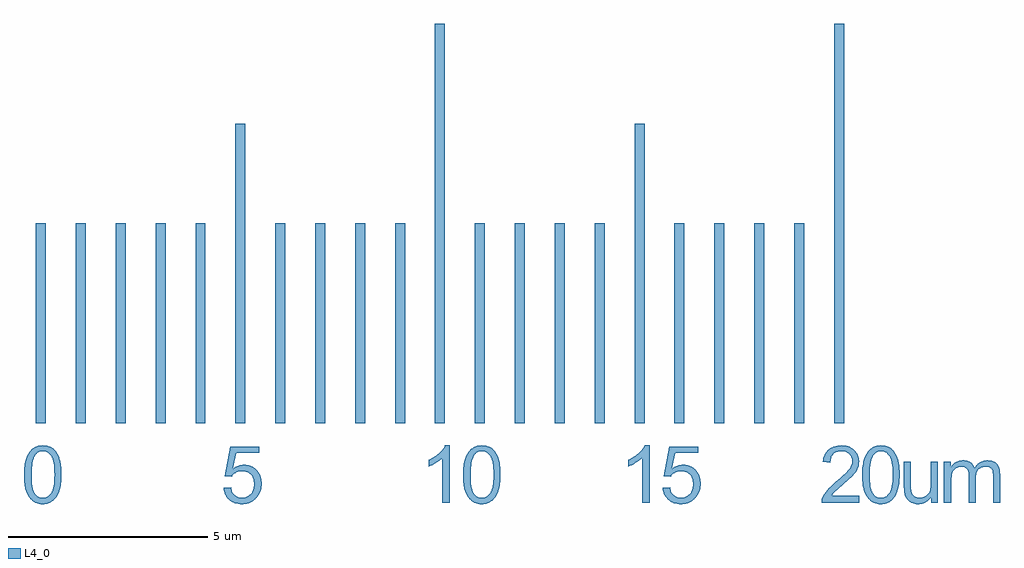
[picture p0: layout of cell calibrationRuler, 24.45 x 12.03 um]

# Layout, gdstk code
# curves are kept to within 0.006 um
import gdstk
lib = gdstk.Library(unit=1e-6, precision=1e-09)
def R(c, l, rs):  # rectangles x0, y0, x1, y1
    for r in rs: c.add(gdstk.rectangle(r[:2], r[2:], *l))
def P(c, l, *ps):  # polygons
    for p in ps: c.add(gdstk.Polygon(p, *l))
L4_0 = (4, 0)

tickmark = lib.new_cell('tickMark')
R(tickmark, L4_0, [(-0.125,0,0.125,5)])

tickmarkextension = lib.new_cell('tickMarkExtension')
R(tickmarkextension, L4_0, [(-0.125,0,0.125,2.5)])

calibrationruler = lib.new_cell('calibrationRuler')
P(calibrationruler, L4_0, [(0.047,-2.031),(-0.027,-2.026),(-0.137,-1.992),(-0.214,-1.943),(-0.281,-1.875),(0.107,-1.868),(0.162,-1.846),(0.212,-1.809),(0.278,-1.725),(0.317,-1.612),(0.332,-1.523),(0.344,-1.297),(0.338,-1.132),(0.317,-0.969),(0.287,-0.873),(0.258,-0.82),(0.188,-0.749),(0.107,-0.71),(0.047,-0.703),(-0.038,-0.719),(-0.105,-0.765),(-0.152,-0.829),(-0.182,-0.89),(-0.211,-0.996),(-0.229,-1.132),(-0.233,-1.379),(-0.223,-1.523),(-0.197,-1.662),(-0.166,-1.742),(-0.114,-1.809),(-0.04,-1.859),(0.047,-1.875),(-0.281,-1.875),(-0.343,-1.774),(-0.387,-1.645),(-0.413,-1.485),(-0.422,-1.297),(-0.414,-1.123),(-0.391,-0.975),(-0.353,-0.853),(-0.301,-0.752),(-0.236,-0.671),(-0.157,-0.611),(-0.063,-0.575),(0.047,-0.562),(0.162,-0.574),(0.258,-0.609),(0.336,-0.666),(0.398,-0.742),(0.458,-0.865),(0.492,-0.986),(0.508,-1.102),(0.516,-1.297),(0.508,-1.471),(0.485,-1.619),(0.447,-1.741),(0.395,-1.842),(0.329,-1.923),(0.25,-1.983),(0.156,-2.019)],
  [(5.047,-2.031),(4.95,-2.024),(4.863,-2.004),(4.786,-1.97),(4.719,-1.922),(4.663,-1.862),(4.621,-1.793),(4.593,-1.714),(4.578,-1.625),(4.766,-1.609),(4.797,-1.73),(4.824,-1.776),(4.879,-1.827),(4.922,-1.851),(4.994,-1.871),(5.078,-1.874),(5.135,-1.862),(5.188,-1.838),(5.236,-1.803),(5.278,-1.757),(5.31,-1.702),(5.332,-1.64),(5.342,-1.569),(5.332,-1.424),(5.295,-1.336),(5.236,-1.269),(5.162,-1.225),(5.078,-1.204),(4.98,-1.209),(4.901,-1.233),(4.822,-1.287),(4.781,-1.344),(4.609,-1.328),(4.75,-0.594),(5.469,-0.594),(5.469,-0.75),(4.891,-0.75),(4.813,-1.141),(4.918,-1.083),(5.059,-1.048),(5.184,-1.055),(5.266,-1.08),(5.374,-1.149),(5.449,-1.232),(5.5,-1.33),(5.527,-1.442),(5.53,-1.562),(5.516,-1.65),(5.489,-1.732),(5.422,-1.844),(5.346,-1.926),(5.258,-1.984),(5.158,-2.02)],
  [(10.063,-2),(10.063,-0.875),(9.947,-0.969),(9.803,-1.055),(9.719,-1.094),(9.719,-0.922),(9.854,-0.85),(9.977,-0.758),(10.072,-0.658),(10.125,-0.562),(10.25,-0.562),(10.25,-2)],
  [(11.047,-2.031),(10.973,-2.026),(10.863,-1.992),(10.786,-1.943),(10.719,-1.875),(11.107,-1.868),(11.162,-1.846),(11.212,-1.809),(11.278,-1.725),(11.317,-1.612),(11.332,-1.523),(11.344,-1.297),(11.338,-1.132),(11.317,-0.969),(11.287,-0.873),(11.258,-0.82),(11.188,-0.749),(11.107,-0.71),(11.047,-0.703),(10.962,-0.719),(10.895,-0.765),(10.848,-0.829),(10.818,-0.89),(10.789,-0.996),(10.771,-1.132),(10.767,-1.379),(10.777,-1.523),(10.803,-1.662),(10.834,-1.742),(10.886,-1.809),(10.96,-1.859),(11.047,-1.875),(10.719,-1.875),(10.657,-1.774),(10.613,-1.645),(10.587,-1.485),(10.578,-1.297),(10.586,-1.123),(10.609,-0.975),(10.647,-0.853),(10.699,-0.752),(10.764,-0.671),(10.843,-0.611),(10.937,-0.575),(11.047,-0.562),(11.162,-0.574),(11.258,-0.609),(11.336,-0.666),(11.398,-0.742),(11.458,-0.865),(11.492,-0.986),(11.508,-1.102),(11.516,-1.297),(11.508,-1.471),(11.485,-1.619),(11.447,-1.741),(11.395,-1.842),(11.329,-1.923),(11.25,-1.983),(11.156,-2.019)],
  [(16.047,-2.031),(15.95,-2.024),(15.863,-2.004),(15.786,-1.97),(15.719,-1.922),(15.663,-1.862),(15.621,-1.793),(15.593,-1.714),(15.578,-1.625),(15.766,-1.609),(15.797,-1.73),(15.824,-1.776),(15.879,-1.827),(15.922,-1.851),(15.994,-1.871),(16.078,-1.874),(16.135,-1.862),(16.188,-1.838),(16.236,-1.803),(16.278,-1.757),(16.31,-1.702),(16.332,-1.64),(16.342,-1.569),(16.332,-1.424),(16.295,-1.336),(16.236,-1.269),(16.162,-1.225),(16.078,-1.204),(15.98,-1.209),(15.901,-1.233),(15.822,-1.287),(15.781,-1.344),(15.609,-1.328),(15.75,-0.594),(16.469,-0.594),(16.469,-0.75),(15.891,-0.75),(15.813,-1.141),(15.918,-1.083),(16.059,-1.048),(16.184,-1.055),(16.266,-1.08),(16.374,-1.149),(16.449,-1.232),(16.5,-1.33),(16.527,-1.442),(16.53,-1.562),(16.516,-1.65),(16.489,-1.732),(16.422,-1.844),(16.346,-1.926),(16.258,-1.984),(16.158,-2.02)],
  [(15.063,-2),(15.063,-0.875),(14.947,-0.969),(14.803,-1.055),(14.719,-1.094),(14.719,-0.922),(14.854,-0.85),(14.977,-0.758),(15.072,-0.658),(15.125,-0.562),(15.25,-0.562),(15.25,-2)],
  [(21.984,-2.031),(21.873,-2.016),(21.759,-1.961),(21.695,-1.898),(21.65,-1.803),(21.626,-1.66),(21.625,-0.969),(21.797,-0.969),(21.798,-1.596),(21.809,-1.706),(21.83,-1.772),(21.87,-1.826),(21.927,-1.86),(22.016,-1.875),(22.11,-1.86),(22.181,-1.826),(22.225,-1.789),(22.266,-1.727),(22.285,-1.664),(22.295,-1.582),(22.297,-0.969),(22.469,-0.969),(22.469,-2),(22.313,-2),(22.313,-1.844),(22.245,-1.926),(22.168,-1.984),(22.081,-2.02)],
  [(22.625,-2),(22.625,-0.969),(22.797,-0.969),(22.797,-1.109),(22.836,-1.055),(22.922,-0.984),(23.008,-0.949),(23.083,-0.938),(23.186,-0.944),(23.271,-0.973),(23.35,-1.043),(23.391,-1.125),(23.44,-1.061),(23.515,-0.997),(23.577,-0.964),(23.669,-0.94),(23.757,-0.939),(23.855,-0.959),(23.932,-1.003),(23.971,-1.046),(24.012,-1.131),(24.03,-1.24),(24.031,-2),(23.859,-2),(23.859,-1.344),(23.851,-1.215),(23.834,-1.166),(23.803,-1.13),(23.757,-1.107),(23.672,-1.094),(23.595,-1.104),(23.53,-1.133),(23.476,-1.183),(23.439,-1.256),(23.422,-1.391),(23.422,-2),(23.25,-2),(23.25,-1.328),(23.243,-1.244),(23.224,-1.18),(23.191,-1.136),(23.145,-1.107),(23.063,-1.094),(22.971,-1.109),(22.907,-1.143),(22.859,-1.194),(22.83,-1.261),(22.814,-1.396),(22.813,-2)],
  [(19.563,-2),(19.578,-1.875),(19.666,-1.734),(19.855,-1.529),(20.119,-1.301),(20.218,-1.2),(20.295,-1.09),(20.327,-0.98),(20.317,-0.877),(20.284,-0.811),(20.23,-0.757),(20.14,-0.713),(20.063,-0.703),(19.997,-0.708),(19.939,-0.723),(19.87,-0.763),(19.821,-0.824),(19.799,-0.875),(19.781,-1),(19.594,-0.969),(19.608,-0.88),(19.646,-0.783),(19.705,-0.7),(19.767,-0.646),(19.839,-0.605),(19.921,-0.578),(20.013,-0.564),(20.112,-0.564),(20.203,-0.579),(20.283,-0.608),(20.352,-0.652),(20.41,-0.71),(20.454,-0.773),(20.484,-0.841),(20.498,-0.915),(20.498,-1),(20.469,-1.133),(20.424,-1.219),(20.352,-1.305),(20.078,-1.562),(19.875,-1.734),(19.836,-1.781),(19.813,-1.828),(20.5,-1.828),(20.5,-2)],
  [(21.047,-2.031),(20.973,-2.026),(20.863,-1.992),(20.786,-1.943),(20.719,-1.875),(21.107,-1.868),(21.162,-1.846),(21.212,-1.809),(21.278,-1.725),(21.317,-1.612),(21.332,-1.523),(21.344,-1.297),(21.338,-1.132),(21.317,-0.969),(21.287,-0.873),(21.258,-0.82),(21.188,-0.749),(21.107,-0.71),(21.047,-0.703),(20.962,-0.719),(20.895,-0.765),(20.848,-0.829),(20.818,-0.89),(20.789,-0.996),(20.771,-1.132),(20.767,-1.379),(20.777,-1.523),(20.803,-1.662),(20.834,-1.742),(20.886,-1.809),(20.96,-1.859),(21.047,-1.875),(20.719,-1.875),(20.657,-1.774),(20.613,-1.645),(20.587,-1.485),(20.578,-1.297),(20.586,-1.123),(20.609,-0.975),(20.647,-0.853),(20.699,-0.752),(20.764,-0.671),(20.843,-0.611),(20.937,-0.575),(21.047,-0.562),(21.162,-0.574),(21.258,-0.609),(21.336,-0.666),(21.398,-0.742),(21.458,-0.865),(21.492,-0.986),(21.508,-1.102),(21.516,-1.297),(21.508,-1.471),(21.485,-1.619),(21.447,-1.741),(21.395,-1.842),(21.329,-1.923),(21.25,-1.983),(21.156,-2.019)])
r = gdstk.Reference(tickmark, (0,0)); r.repetition = gdstk.Repetition(21, 1, v1=(1,0), v2=(0,0)); calibrationruler.add(r)
r = gdstk.Reference(tickmarkextension, (5,5)); r.repetition = gdstk.Repetition(4, 1, v1=(5,0), v2=(0,0)); calibrationruler.add(r)
r = gdstk.Reference(tickmarkextension, (10,7.5)); r.repetition = gdstk.Repetition(2, 1, v1=(10,0), v2=(0,0)); calibrationruler.add(r)

lib.write_gds('calibrationRuler.gds')
